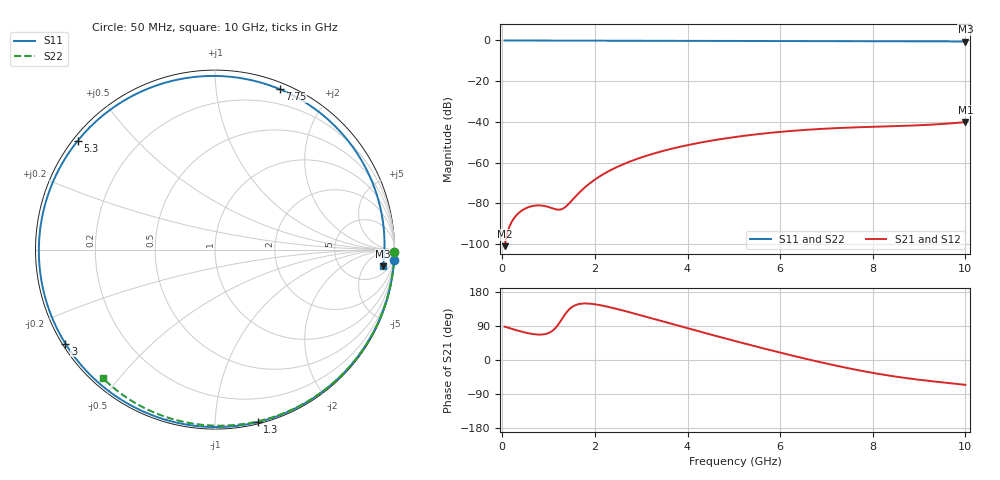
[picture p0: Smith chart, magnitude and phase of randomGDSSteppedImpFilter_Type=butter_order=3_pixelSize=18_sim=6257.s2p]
! freq	dB(S11)	phase(S11)	dB(S12)	phase(S12)
!  dB(S21)	phase(S21)	dB(S22)	phase(S22)
!S-par simulation data
#  GHz  S  DB  R 50
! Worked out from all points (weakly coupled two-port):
!   200 points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, 50 MHz to 10 GHz, reference 50 ohm
!   highest |S21| = -40.13 dB at 10 GHz (marker M1); lowest = -101.1 dB at 50 MHz (marker M2)
!   lowest |S11| = -0.5 dB at 10 GHz (marker M3), VSWR 32.90, Z = 458 - j736 ohm
!   |S11| at or under -10 dB: nowhere
!   |S22| runs from -0.4 to 0.0 dB; largest |S21 - S12| = 0
!   S11 on the Smith chart (normalised r, x): 50 MHz: 0, -36; 1.3 GHz: 0.01, -1.28; 3 GHz: 0.01, -0.29; 5.3 GHz: 0.01, +0.35; 7.75 GHz: 0.06, +1.48; 10 GHz: 9, -15
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0.05  -0.00 -3.2  -101.13 88.1  -101.13 88.1  -0.00 -0.8
0.35  -0.03 -21.9  -84.92 77.1  -84.92 77.1  -0.01 -5.3
0.7  -0.06 -42.9  -81.21 67.9  -81.21 67.9  -0.01 -10.6
1  -0.07 -60.1  -81.89 71.2  -81.89 71.2  -0.02 -15.0
1.3  -0.09 -76.1  -82.80 110.5  -82.80 110.5  -0.02 -19.5
1.45  -0.09 -83.7  -79.95 134.3  -79.95 134.3  -0.03 -21.7
1.75  -0.10 -98.1  -72.90 149.1  -72.90 149.1  -0.03 -26.1
2  -0.11 -109.2  -68.38 147.0  -68.38 147.0  -0.04 -29.8
2.3  -0.12 -121.7  -64.23 139.8  -64.23 139.8  -0.04 -34.2
3  -0.14 -147.9  -57.52 117.6  -57.52 117.6  -0.06 -44.2
3.4  -0.15 -161.3  -54.75 104.1  -54.75 104.1  -0.07 -49.8
4.2  -0.17 173.7  -50.56 77.2  -50.56 77.2  -0.09 -60.8
5.05  -0.20 148.8  -47.39 49.3  -47.39 49.3  -0.11 -72.1
5.3  -0.21 141.5  -46.65 41.3  -46.65 41.3  -0.12 -75.3
6.05  -0.24 119.7  -44.85 18.0  -44.85 18.0  -0.15 -84.8
6.7  -0.27 100.4  -43.73 -1.0  -43.73 -1.0  -0.18 -92.9
7.25  -0.30 83.7  -43.06 -16.0  -43.06 -16.0  -0.21 -99.5
7.75  -0.32 68.0  -42.62 -28.4  -42.62 -28.4  -0.24 -105.4
8.35  -0.36 48.8  -42.21 -41.1  -42.21 -41.1  -0.29 -112.4
9.2  -0.42 20.9  -41.47 -55.0  -41.47 -55.0  -0.36 -122.1
9.6  -0.47 7.6  -40.90 -60.3  -40.90 -60.3  -0.40 -126.7
10  -0.53 -5.6  -40.13 -65.6  -40.13 -65.6  -0.44 -131.1
